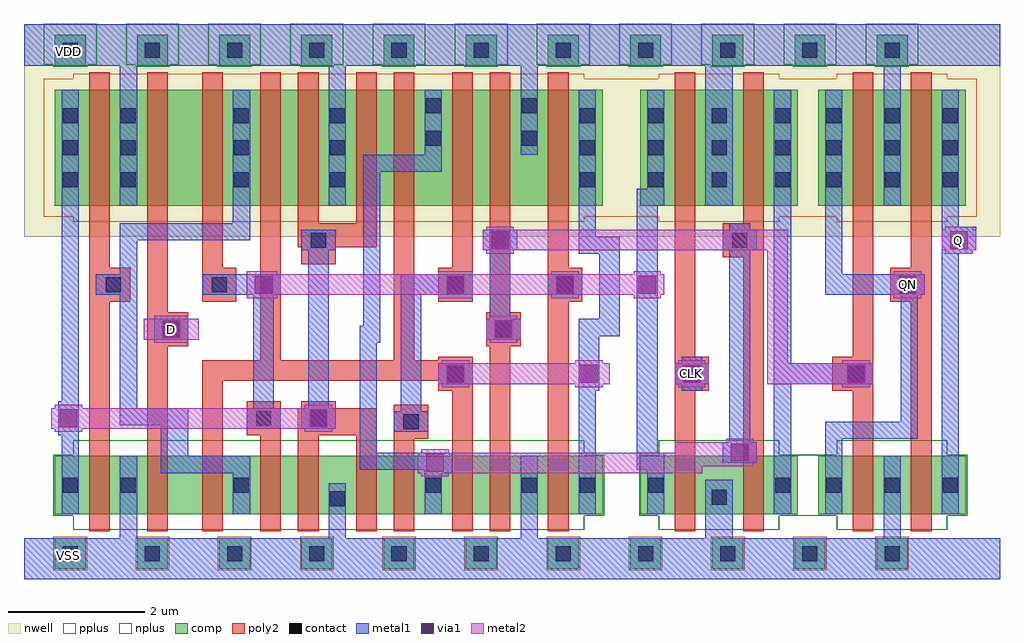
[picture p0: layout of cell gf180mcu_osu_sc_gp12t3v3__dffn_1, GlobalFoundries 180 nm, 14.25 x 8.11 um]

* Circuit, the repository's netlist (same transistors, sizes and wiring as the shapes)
* Copyright 2022 Google LLC
*
* Licensed under the Apache License, Version 2.0 (the "License");
* you may not use this file except in compliance with the License.
* You may obtain a copy of the License at
*
*      http://www.apache.org/licenses/LICENSE-2.0
*
* Unless required by applicable law or agreed to in writing, software
* distributed under the License is distributed on an "AS IS" BASIS,
* WITHOUT WARRANTIES OR CONDITIONS OF ANY KIND, either express or implied.
* See the License for the specific language governing permissions and
* limitations under the License.

.inc "/import/yukari1/lrburle/OSU_180/char/techfiles/design.hspice"
.lib "/import/yukari1/lrburle/OSU_180/char/techfiles/sm141064.hspice" typical

.GLOBAL VDD
.GLOBAL VSS

.option scale=0.05u

.subckt gf180mcu_osu_sc_gp12t3v3__dffn_1 D Q QN CLK
X0 a_75_109 a_52_14 a_19_14 VDD pmos_3p3 w=34 l=6
X1 a_19_14 a_52_81 a_42_109 VDD pmos_3p3 w=34 l=6
X2 a_131_19 a_52_14 a_114_19 VSS nmos_3p3 w=17 l=6
X3 a_42_109 D VDD VDD pmos_3p3 w=34 l=6
X4 VDD a_19_14 a_9_19 VDD pmos_3p3 w=34 l=6
X5 a_75_19 a_52_81 a_19_14 VSS nmos_3p3 w=17 l=6
X6 VDD a_135_68 QN VDD pmos_3p3 w=34 l=6
X7 Q QN VDD VDD pmos_3p3 w=34 l=6
X8 Q QN VSS VSS nmos_3p3 w=17 l=6
X9 VSS a_135_68 a_131_19 VSS nmos_3p3 w=17 l=6
X10 a_19_14 a_52_14 a_42_19 VSS nmos_3p3 w=17 l=6
X11 VSS a_19_14 a_9_19 VSS nmos_3p3 w=17 l=6
X12 VSS a_135_68 QN VSS nmos_3p3 w=17 l=6
X13 a_52_14 a_52_81 VDD VDD pmos_3p3 w=34 l=6
X14 VDD a_135_68 a_131_109 VDD pmos_3p3 w=34 l=6
X15 VSS CLK a_52_81 VSS nmos_3p3 w=17 l=6
X16 a_131_109 a_52_81 a_114_19 VDD pmos_3p3 w=34 l=6
X17 a_114_19 a_52_14 a_103_109 VDD pmos_3p3 w=34 l=6
X18 a_135_68 a_114_19 VDD VDD pmos_3p3 w=34 l=6
X19 a_114_19 a_52_81 a_103_19 VSS nmos_3p3 w=17 l=6
X20 a_52_14 a_52_81 VSS VSS nmos_3p3 w=17 l=6
X21 a_103_109 a_9_19 VDD VDD pmos_3p3 w=34 l=6
X22 a_42_19 D VSS VSS nmos_3p3 w=17 l=6
X23 VDD a_9_19 a_75_109 VDD pmos_3p3 w=34 l=6
X24 a_103_19 a_9_19 VSS VSS nmos_3p3 w=17 l=6
X25 a_135_68 a_114_19 VSS VSS nmos_3p3 w=17 l=6
X26 VDD CLK a_52_81 VDD pmos_3p3 w=34 l=6
X27 VSS a_9_19 a_75_19 VSS nmos_3p3 w=17 l=6
.ends

** hspice subcircuit dictionary

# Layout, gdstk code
import gdstk
lib = gdstk.Library(unit=1e-6, precision=1e-09)
def R(c, l, rs):  # rectangles x0, y0, x1, y1
    for r in rs: c.add(gdstk.rectangle(r[:2], r[2:], *l))
def A(c, l, x, y, w, h, nx, ny, dx, dy):  # array of equal rectangles
    R(c, l, [(x+i*dx, y+j*dy, x+i*dx+w, y+j*dy+h) for i in range(nx) for j in range(ny)])
nwell = (21, 0)
comp = (22, 0)
poly2 = (30, 0)
pplus = (31, 0)
nplus = (32, 0)
contact = (33, 0)
metal1 = (34, 0)
via1 = (35, 0)
metal2 = (36, 0)

gf180mcu_osu_sc_gp12t3v3 = lib.new_cell('gf180mcu_osu_sc_gp12t3v3__dffn_1')
R(gf180mcu_osu_sc_gp12t3v3, nwell, [(0,5,14.25,8.1)])
A(gf180mcu_osu_sc_gp12t3v3, comp, 0.45, 0.15, 0.45, 0.45, 11, 2, 1.2, 7.35)
R(gf180mcu_osu_sc_gp12t3v3, comp, [(0.45,0.95,8.45,1.8), (9,0.95,11.3,1.8), (11.6,0.95,13.75,1.8), (0.45,5.45,8.45,7.15), (9,5.45,11.3,7.15), (11.6,5.45,13.75,7.15)])
R(gf180mcu_osu_sc_gp12t3v3, poly2, [(0.95,0.7,1.25,4.05), (1.8,0.7,2.1,3.4), (2.6,0.7,2.9,2.9), (3.45,0.7,3.75,2.1), (4,0.7,4.3,2.1), (4.85,0.7,5.15,2.1), (5.4,0.7,5.7,2.05), (6.25,0.7,6.55,2.75), (6.8,0.7,7.1,3.4), (7.65,0.7,7.95,4.05), (9.5,0.7,9.8,2.75), (10.5,0.7,10.8,4.7), (12.1,0.7,12.4,2.75), (12.95,0.7,13.25,4.05), (5.4,2.05,5.9,2.55), (3.25,2.1,3.75,2.6), (4,2.1,5.15,2.5), (4.05,2.5,4.55,2.6), (6.05,2.75,6.55,2.9), (9.5,2.75,10,3.25), (11.8,2.75,12.4,3.25), (2.6,2.9,6.55,3.2), (3.45,3.2,3.75,7.4), (5.4,3.2,5.7,7.4), (6.05,3.2,6.55,3.25), (9.5,3.25,9.8,7.4), (12.1,3.25,12.4,7.4), (1.8,3.4,2.4,3.9), (6.75,3.4,7.25,3.9), (1.8,3.9,2.1,7.4), (6.8,3.9,7.1,7.4), (0.95,4.05,1.55,4.55), (2.6,4.05,3.1,4.55), (6.05,4.05,6.55,4.55), (7.65,4.05,8.15,4.55), (12.65,4.05,13.25,4.55), (0.95,4.55,1.25,7.4), (2.6,4.55,2.9,7.4), (6.25,4.55,6.55,7.4), (7.65,4.55,7.95,7.4), (12.95,4.55,13.25,7.4), (4.05,4.6,4.55,4.85), (10.2,4.7,10.8,5.2), (4,4.85,5.15,5.2), (4,5.2,4.3,7.4), (4.85,5.2,5.15,7.4), (10.5,5.2,10.8,7.4)])
A(gf180mcu_osu_sc_gp12t3v3, pplus, 0.43, 0.13, 0.49, 0.49, 11, 1, 1.2, 0)
R(gf180mcu_osu_sc_gp12t3v3, pplus, [(0.72,5.22,8.18,5.29), (9.27,5.22,11.03,5.29), (11.87,5.22,13.48,5.29), (0.29,5.29,13.91,7.31), (0.72,7.31,8.18,7.38), (9.27,7.31,11.03,7.38), (11.87,7.31,13.48,7.38)])
A(gf180mcu_osu_sc_gp12t3v3, nplus, 0.43, 7.48, 0.49, 0.03, 11, 1, 1.2, 0)
A(gf180mcu_osu_sc_gp12t3v3, nplus, 0.29, 7.51, 0.77, 0.6, 11, 1, 1.2, 0)
R(gf180mcu_osu_sc_gp12t3v3, nplus, [(0.72,0.72,8.18,0.93), (9.27,0.72,11.03,0.93), (11.87,0.72,13.48,0.93), (0.43,0.93,8.47,1.82), (8.98,0.93,13.77,1.82), (0.72,1.82,8.18,2.03), (9.27,1.82,11.03,2.03), (11.87,1.82,13.48,2.03)])
A(gf180mcu_osu_sc_gp12t3v3, contact, 0.565, 0.265, 0.22, 0.22, 11, 2, 1.2, 7.35)
A(gf180mcu_osu_sc_gp12t3v3, contact, 11.715, 1.265, 0.22, 0.22, 3, 2, 0.85, 4.455)
A(gf180mcu_osu_sc_gp12t3v3, contact, 0.565, 5.72, 0.22, 0.22, 1, 3, 0, 0.47)
A(gf180mcu_osu_sc_gp12t3v3, contact, 1.415, 5.72, 0.22, 0.22, 1, 3, 0, 0.47)
A(gf180mcu_osu_sc_gp12t3v3, contact, 3.065, 5.72, 0.22, 0.22, 1, 3, 0, 0.47)
A(gf180mcu_osu_sc_gp12t3v3, contact, 4.465, 5.72, 0.22, 0.22, 1, 3, 0, 0.47)
A(gf180mcu_osu_sc_gp12t3v3, contact, 8.115, 5.72, 0.22, 0.22, 1, 3, 0, 0.47)
A(gf180mcu_osu_sc_gp12t3v3, contact, 9.115, 5.72, 0.22, 0.22, 3, 3, 0.925, 0.47)
A(gf180mcu_osu_sc_gp12t3v3, contact, 11.715, 6.19, 0.22, 0.22, 3, 2, 0.85, 0.47)
R(gf180mcu_osu_sc_gp12t3v3, contact, [(4.465,1.065,4.685,1.285), (10.04,1.09,10.26,1.31), (0.565,1.265,0.785,1.485), (1.415,1.265,1.635,1.485), (3.065,1.265,3.285,1.485), (5.865,1.265,6.085,1.485), (7.265,1.265,7.485,1.485), (8.115,1.265,8.335,1.485), (9.115,1.265,9.335,1.485), (10.965,1.265,11.185,1.485), (5.54,2.19,5.76,2.41), (3.39,2.24,3.61,2.46), (4.19,2.24,4.41,2.46), (6.19,2.89,6.41,3.11), (9.64,2.89,9.86,3.11), (12.04,2.89,12.26,3.11), (2.04,3.54,2.26,3.76), (6.89,3.54,7.11,3.76), (1.19,4.19,1.41,4.41), (2.74,4.19,2.96,4.41), (6.19,4.19,6.41,4.41), (7.79,4.19,8.01,4.41), (12.79,4.19,13.01,4.41), (4.19,4.84,4.41,5.06), (10.34,4.84,10.56,5.06), (5.865,6.33,6.085,6.55), (7.265,6.33,7.485,6.55), (5.865,6.8,6.085,7.02), (7.265,6.8,7.485,7.02)])
R(gf180mcu_osu_sc_gp12t3v3, metal1, [(0,0,14.25,0.6), (1.4,0.6,1.65,1.8), (4.45,0.6,4.7,1.4), (7.25,0.6,7.5,1.8), (9.95,0.6,10.35,1.45), (12.55,0.6,12.8,1.8), (0.55,0.95,0.8,2.1), (3.05,0.95,3.3,1.55), (5.85,0.95,6.1,1.55), (8.1,0.95,8.35,2.75), (9.1,0.95,9.35,1.6), (10.95,0.95,11.2,2.85), (11.7,0.95,11.95,2.05), (13.4,0.95,13.65,4.75), (2,1.55,3.3,1.8), (5.85,1.55,6.25,1.6), (4.9,1.6,6.25,1.85), (8.95,1.6,9.35,1.85), (10.2,1.7,10.7,2), (2,1.8,2.4,2.25), (4.9,1.85,5.15,3.45), (8.95,1.85,9.25,5.45), (10.3,2,10.6,4.8), (11.7,2.05,13.05,2.3), (0.5,2.1,0.8,2.6), (5.4,2.15,5.9,2.45), (3.25,2.2,3.75,2.5), (4.05,2.2,4.55,2.5), (1.4,2.25,2.4,2.5), (12.8,2.3,13.05,4.15), (5.5,2.45,5.8,4.15), (1.4,2.5,1.65,4.15), (3.35,2.5,3.65,4.15), (4.15,2.5,4.45,4.8), (0.55,2.6,0.8,7.15), (8.1,2.75,8.4,3.55), (9.6,2.75,9.9,2.85), (6.05,2.85,6.55,3.15), (9.5,2.85,10,3.15), (10.95,2.85,12.4,3.15), (9.6,3.15,9.9,3.25), (10.95,3.15,11.2,7.15), (4.9,3.45,5.2,3.7), (1.9,3.5,2.4,3.8), (6.75,3.5,7.25,3.8), (8.1,3.55,8.7,3.8), (4.95,3.7,5.2,5.95), (6.8,3.8,7.1,4.8), (8.4,3.8,8.7,4.75), (1.05,4.15,1.65,4.45), (2.6,4.15,3.75,4.45), (5.5,4.15,6.55,4.45), (7.65,4.15,8.15,4.45), (11.7,4.15,13.15,4.45), (1.4,4.45,1.65,4.95), (11.7,4.45,11.95,7.15), (8.1,4.75,8.7,5), (13.4,4.75,13.85,4.8), (4.05,4.8,4.55,5.1), (6.7,4.8,7.2,5.1), (10.2,4.8,10.7,5.1), (13.4,4.8,13.9,5.15), (1.4,4.95,3.3,5.2), (8.1,5,8.35,7.15), (10.3,5.1,10.6,5.2), (13.4,5.15,13.65,7.15), (3.05,5.2,3.3,7.15), (1.4,5.45,1.65,7.5), (4.45,5.45,4.7,7.5), (8.95,5.45,9.35,5.7), (9.95,5.45,10.35,7.5), (12.55,5.45,12.8,7.5), (9.1,5.7,9.35,7.15), (4.95,5.95,6.1,6.2), (5.85,6.2,6.1,7.15), (7.25,6.2,7.5,7.5), (0,7.5,14.25,8.1)])
R(gf180mcu_osu_sc_gp12t3v3, via1, [(5.87,1.57,6.13,1.83), (10.32,1.72,10.58,1.98), (0.52,2.22,0.78,2.48), (4.17,2.22,4.43,2.48), (6.17,2.87,6.43,3.13), (8.12,2.87,8.38,3.13), (9.62,2.87,9.88,3.13), (12.02,2.87,12.28,3.13), (2.02,3.52,2.28,3.78), (6.87,3.52,7.13,3.78), (3.37,4.17,3.63,4.43), (6.17,4.17,6.43,4.43), (7.77,4.17,8.03,4.43), (8.97,4.17,9.23,4.43), (12.77,4.17,13.03,4.43), (6.82,4.82,7.08,5.08), (13.52,4.82,13.78,5.08)])
R(gf180mcu_osu_sc_gp12t3v3, metal2, [(5.8,1.5,6.2,1.55), (5.75,1.55,9.9,1.65), (5.75,1.65,10.65,1.7), (5.75,1.7,10.7,1.85), (5.8,1.85,6.2,1.9), (9.5,1.85,10.7,2), (10.25,2,10.65,2.05), (0.45,2.15,0.85,2.2), (4.1,2.15,4.5,2.2), (0.4,2.2,4.55,2.5), (0.45,2.5,0.85,2.55), (4.1,2.5,4.5,2.55), (6.1,2.8,6.5,2.85), (8.05,2.8,8.45,2.85), (9.55,2.8,9.95,2.85), (11.95,2.8,12.35,2.85), (6.05,2.85,8.55,3.15), (9.5,2.85,10,3.15), (10.85,2.85,12.4,3.15), (6.1,3.15,6.5,3.2), (8.05,3.15,8.45,3.2), (9.55,3.15,9.95,3.2), (10.85,3.15,11.15,4.8), (11.95,3.15,12.35,3.2), (1.9,3.45,2.4,3.5), (6.8,3.45,7.2,3.5), (1.75,3.5,2.55,3.8), (6.75,3.5,7.25,3.8), (1.9,3.8,2.4,3.85), (6.8,3.8,7.2,3.85), (3.25,4.1,3.7,4.15), (6.05,4.1,6.55,4.15), (7.7,4.1,8.1,4.15), (8.9,4.1,9.3,4.15), (12.7,4.1,13.1,4.15), (3.25,4.15,9.35,4.45), (12.65,4.15,13.15,4.45), (3.25,4.45,3.7,4.5), (6.05,4.45,6.55,4.5), (7.7,4.45,8.1,4.5), (8.9,4.45,9.3,4.5), (12.7,4.45,13.1,4.5), (6.75,4.75,7.15,4.8), (13.45,4.75,13.85,4.8), (6.7,4.8,11.15,5.1), (13.4,4.8,13.9,5.1), (6.75,5.1,7.15,5.15), (13.45,5.1,13.85,5.15)])
gf180mcu_osu_sc_gp12t3v3.add(gdstk.Label('VDD', (0.65,7.7), layer=34, texttype=0))
gf180mcu_osu_sc_gp12t3v3.add(gdstk.Label('VSS', (0.65,0.35), layer=34, texttype=0))
gf180mcu_osu_sc_gp12t3v3.add(gdstk.Label('D', (2.15,3.65), layer=36, texttype=10))
gf180mcu_osu_sc_gp12t3v3.add(gdstk.Label('Q', (13.65,4.95), layer=36, texttype=10))
gf180mcu_osu_sc_gp12t3v3.add(gdstk.Label('QN', (12.9,4.3), layer=36, texttype=10))
gf180mcu_osu_sc_gp12t3v3.add(gdstk.Label('CLK', (9.75,3), layer=36, texttype=10))

lib.write_gds('gf180mcu_osu_sc_gp12t3v3__dffn_1.gds')
